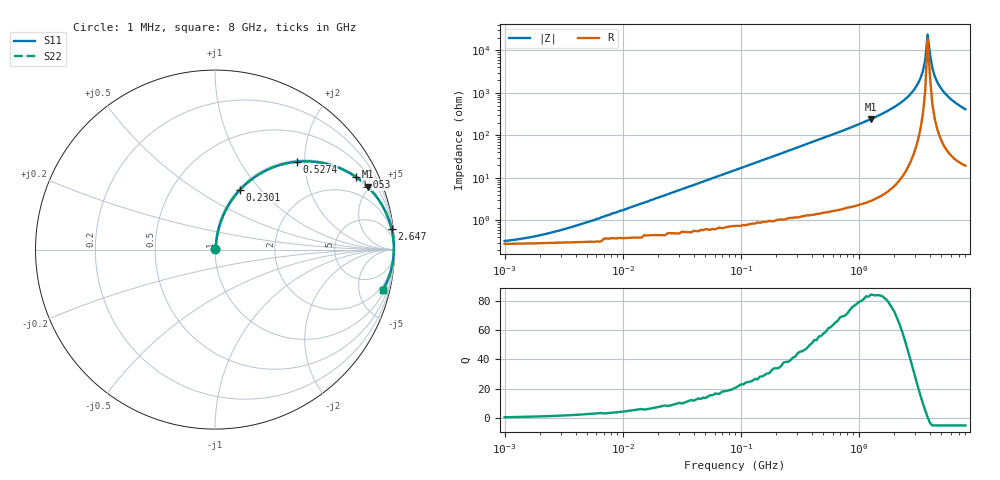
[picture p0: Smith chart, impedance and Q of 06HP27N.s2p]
# MHz S MA R 50
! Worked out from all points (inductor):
!   196 points, 1 MHz to 8 GHz, reference 50 ohm
!   read as one part in series: L = 27 nH near 5.762 MHz
!   highest Q = 83.9 at 1.266 GHz (marker M1), where L = 30.3 nH
!   self-resonance near 3.827 GHz
!   S11 on the Smith chart (normalised r, x): 1 MHz: 1.01, +0.00; 230.1 MHz: 1.02, +0.78; 527.4 MHz: 1.03, +1.82; 1.053 GHz: 1.05, +3.86; 2.647 GHz: 1, +17; 8 GHz: 1.40, -8.22
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1  0.003066 33.4  0.997 -0.1  0.997 -0.1  0.003066 33.4
2.091  0.004515 51.4  0.997 -0.2  0.997 -0.2  0.004515 51.4
4.576  0.008372 67.1  0.997 -0.4  0.997 -0.4  0.008372 67.1
20.943  0.036 80.6  0.995 -2.0  0.995 -2.0  0.036 80.6
91.528  0.153 78.5  0.981 -8.8  0.981 -8.8  0.153 78.5
230.075  0.362 67.3  0.923 -21.2  0.923 -21.2  0.362 67.3
418.867  0.579 53.6  0.805 -35.3  0.805 -35.3  0.579 53.6
527.418  0.668 47.1  0.733 -41.9  0.733 -41.9  0.668 47.1
1052.914  0.883 27.2  0.458 -62.0  0.458 -62.0  0.883 27.2
1266.065  0.92 22.5  0.382 -66.9  0.382 -66.9  0.92 22.5
1830.556  0.967 14.0  0.241 -75.3  0.241 -75.3  0.967 14.0
2646.73  0.991 6.7  0.117 -82.0  0.117 -82.0  0.991 6.7
3182.534  0.995 3.4  0.059 -83.9  0.059 -83.9  0.995 3.4
3489.834  0.996 1.8  0.031 -82.6  0.031 -82.6  0.996 1.8
3654.438  0.997 1.0  0.017 -78.2  0.017 -78.2  0.997 1.0
3826.806  0.997 0.1  0.004221 -37.6  0.004221 -37.6  0.997 0.1
4007.304  0.996 -0.7  0.012 72.2  0.012 72.2  0.996 -0.7
4196.316  0.996 -1.5  0.026 80.2  0.026 80.2  0.996 -1.5
4601.504  0.994 -3.1  0.054 82.4  0.054 82.4  0.994 -3.1
5045.817  0.992 -4.7  0.082 81.9  0.082 81.9  0.992 -4.7
5794.008  0.986 -7.2  0.126 80.0  0.126 80.0  0.986 -7.2
8000  0.961 -13.5  0.234 73.8  0.234 73.8  0.961 -13.5
